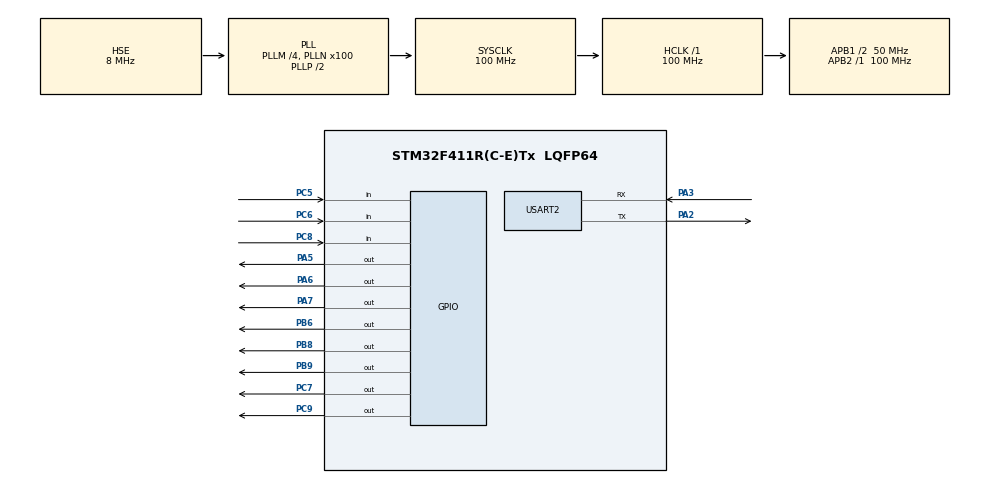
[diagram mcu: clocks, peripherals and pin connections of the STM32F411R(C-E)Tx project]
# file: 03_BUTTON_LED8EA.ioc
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Mcu.Family=STM32F4
Mcu.Name=STM32F411R(C-E)Tx
Mcu.Package=LQFP64
NVIC.PriorityGroup=NVIC_PRIORITYGROUP_4
NVIC.USART2_IRQn=true\:0\:0\:false\:false\:true\:true\:true\:true
PA13.Mode=Serial_Wire
PA13.Signal=SYS_JTMS-SWDIO
PA14.Mode=Serial_Wire
PA14.Signal=SYS_JTCK-SWCLK
PA2.Mode=Asynchronous
PA2.Signal=USART2_TX
PA3.Mode=Asynchronous
PA3.Signal=USART2_RX
PA5.Signal=GPIO_Output
PA6.Signal=GPIO_Output
PA7.Signal=GPIO_Output
PB6.Signal=GPIO_Output
PB8.Signal=GPIO_Output
PB9.Signal=GPIO_Output
PC5.GPIO_PuPd=GPIO_PULLUP
PC5.Signal=GPIO_Input
PC6.GPIO_PuPd=GPIO_PULLUP
PC6.Signal=GPIO_Input
PC7.Signal=GPIO_Output
PC8.GPIO_PuPd=GPIO_PULLUP
PC8.Signal=GPIO_Input
PC9.Signal=GPIO_Output
PH0\ -\ OSC_IN.Mode=HSE-External-Oscillator
PH0\ -\ OSC_IN.Signal=RCC_OSC_IN
PH1\ -\ OSC_OUT.Mode=HSE-External-Oscillator
PH1\ -\ OSC_OUT.Signal=RCC_OSC_OUT
ProjectManager.HeapSize=0x200
ProjectManager.StackSize=0x400
ProjectManager.TargetToolchain=STM32CubeIDE
RCC.48MHZClocksFreq_Value=50000000
RCC.AHBFreq_Value=100000000
RCC.APB1CLKDivider=RCC_HCLK_DIV2
RCC.APB1Freq_Value=50000000
RCC.APB1TimFreq_Value=100000000
RCC.APB2Freq_Value=100000000
RCC.APB2TimFreq_Value=100000000
RCC.CortexFreq_Value=100000000
RCC.HCLKFreq_Value=100000000
RCC.HSE_VALUE=8000000
RCC.HSI_VALUE=16000000
RCC.LSE_VALUE=32768
RCC.PLLM=4
RCC.PLLN=100
RCC.PLLSourceVirtual=RCC_PLLSOURCE_HSE
RCC.SYSCLKFreq_VALUE=100000000
RCC.SYSCLKSource=RCC_SYSCLKSOURCE_PLLCLK
RCC.VCOOutputFreq_Value=200000000
USART2.VirtualMode=VM_ASYNC
board=custom

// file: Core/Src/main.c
/* USER CODE BEGIN Header */
/**
  ******************************************************************************
  * @file           : main.c
  * @brief          : Main program body
  ******************************************************************************
  * @attention
  *
  * Copyright (c) 2025 STMicroelectronics.
  * All rights reserved.
  *
  * This software is licensed under terms that can be found in the LICENSE file
  * in the root directory of this software component.
  * If no LICENSE file comes with this software, it is provided AS-IS.
  *
  ******************************************************************************
  */
/* USER CODE END Header */
#include "main.h"
#include "usart.h"
#include "gpio.h"

/* USER CODE BEGIN Includes */
#include "led.h"
/* USER CODE END Includes */

/* USER CODE BEGIN PV */
uint8_t bt1State = 0;
uint8_t bt2State = 0;
uint8_t bt3State = 0;
/* USER CODE END PV */

void SystemClock_Config(void);

int main(void)
{

  /* MCU Configuration--------------------------------------------------------*/

  /* Reset of all peripherals, Initializes the Flash interface and the Systick. */
  HAL_Init();

  /* Configure the system clock */
  SystemClock_Config();

  /* Initialize all configured peripherals */
  MX_GPIO_Init();
  MX_USART2_UART_Init();

  /* Infinite loop */
  /* USER CODE BEGIN WHILE */
  while (1)
  {
	  if (!(HAL_GPIO_ReadPin(GPIOC, GPIO_PIN_8))) {
		  ledOn(8);
		  bt1State = 1;
		  bt3State = 0;
	  }

	  if (!(HAL_GPIO_ReadPin(GPIOC, GPIO_PIN_6))) {
		  ledOff(8);
		  bt2State = 1;
		  bt3State = 0;
	  }

	  if (!(HAL_GPIO_ReadPin(GPIOC, GPIO_PIN_5))) {
		  bt3State = !bt3State;
	  }

	  if (bt3State == 1 && bt1State == 0) {
		  ledLeftShift(8);
	  }
	  else if (bt3State == 1 && bt1State == 1) {
		  ledOff(8);
		  bt1State = 0;
	  }

	  HAL_Delay(200);
    /* USER CODE END WHILE */

  }
}

void SystemClock_Config(void)
{
  RCC_OscInitTypeDef RCC_OscInitStruct = {0};
  RCC_ClkInitTypeDef RCC_ClkInitStruct = {0};

  /** Configure the main internal regulator output voltage
  */
  __HAL_RCC_PWR_CLK_ENABLE();
  __HAL_PWR_VOLTAGESCALING_CONFIG(PWR_REGULATOR_VOLTAGE_SCALE1);

  /** Initializes the RCC Oscillators according to the specified parameters
  * in the RCC_OscInitTypeDef structure.
  */
  RCC_OscInitStruct.OscillatorType = RCC_OSCILLATORTYPE_HSE;
  RCC_OscInitStruct.HSEState = RCC_HSE_ON;
  RCC_OscInitStruct.PLL.PLLState = RCC_PLL_ON;
  RCC_OscInitStruct.PLL.PLLSource = RCC_PLLSOURCE_HSE;
  RCC_OscInitStruct.PLL.PLLM = 4;
  RCC_OscInitStruct.PLL.PLLN = 100;
  RCC_OscInitStruct.PLL.PLLP = RCC_PLLP_DIV2;
  RCC_OscInitStruct.PLL.PLLQ = 4;
  if (HAL_RCC_OscConfig(&RCC_OscInitStruct) != HAL_OK)
  {
    Error_Handler();
  }

  /** Initializes the CPU, AHB and APB buses clocks
  */
  RCC_ClkInitStruct.ClockType = RCC_CLOCKTYPE_HCLK|RCC_CLOCKTYPE_SYSCLK
                              |RCC_CLOCKTYPE_PCLK1|RCC_CLOCKTYPE_PCLK2;
  RCC_ClkInitStruct.SYSCLKSource = RCC_SYSCLKSOURCE_PLLCLK;
  RCC_ClkInitStruct.AHBCLKDivider = RCC_SYSCLK_DIV1;
  RCC_ClkInitStruct.APB1CLKDivider = RCC_HCLK_DIV2;
  RCC_ClkInitStruct.APB2CLKDivider = RCC_HCLK_DIV1;

  if (HAL_RCC_ClockConfig(&RCC_ClkInitStruct, FLASH_LATENCY_3) != HAL_OK)
  {
    Error_Handler();
  }
}

void Error_Handler(void)
{
  __disable_irq();
  while (1)
  {
  }
}
